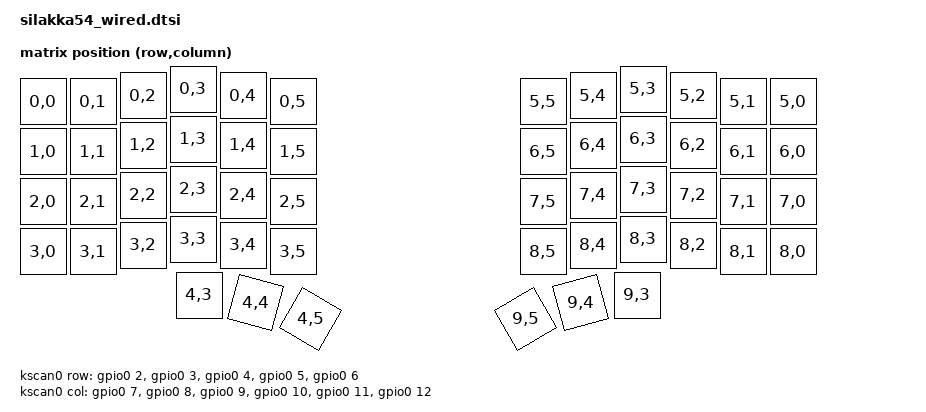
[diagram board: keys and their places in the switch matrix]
// SPDX-License-Identifier: MIT
// Original Silakka54 hardware: rows GP2..6, columns GP7..12, COL2ROW;
// UART0 TX GP0 / RX GP1. See Squalius-cephalus/silakka54 firmware/keyboard.json
// and firmware/config.h. This is an independent ZMK port, not a QMK firmware.
#include <dt-bindings/gpio/gpio.h>
#include <dt-bindings/zmk/matrix_transform.h>
#include <physical_layouts.dtsi>

/ {
    chosen {
        /delete-property/ zephyr,console;
        /delete-property/ zephyr,shell-uart;
        zmk,kscan = &kscan0;
        zmk,physical-layout = &silakka54_layout;
    };

    wired_split {
        compatible = "zmk,wired-split";
        device = <&uart0>;
    };

    default_transform: keymap_transform {
        compatible = "zmk,matrix-transform";
        rows = <10>;
        columns = <6>;
        map = <
            RC(0,0) RC(0,1) RC(0,2) RC(0,3) RC(0,4) RC(0,5)  RC(5,5) RC(5,4) RC(5,3) RC(5,2) RC(5,1) RC(5,0)
            RC(1,0) RC(1,1) RC(1,2) RC(1,3) RC(1,4) RC(1,5)  RC(6,5) RC(6,4) RC(6,3) RC(6,2) RC(6,1) RC(6,0)
            RC(2,0) RC(2,1) RC(2,2) RC(2,3) RC(2,4) RC(2,5)  RC(7,5) RC(7,4) RC(7,3) RC(7,2) RC(7,1) RC(7,0)
            RC(3,0) RC(3,1) RC(3,2) RC(3,3) RC(3,4) RC(3,5)  RC(8,5) RC(8,4) RC(8,3) RC(8,2) RC(8,1) RC(8,0)
            RC(4,3) RC(4,4) RC(4,5)  RC(9,5) RC(9,4) RC(9,3)
        >;
    };

    kscan0: kscan {
        compatible = "zmk,kscan-gpio-matrix";
        diode-direction = "col2row";
        row-gpios = <&gpio0 2 (GPIO_ACTIVE_HIGH | GPIO_PULL_DOWN)>,
                    <&gpio0 3 (GPIO_ACTIVE_HIGH | GPIO_PULL_DOWN)>,
                    <&gpio0 4 (GPIO_ACTIVE_HIGH | GPIO_PULL_DOWN)>,
                    <&gpio0 5 (GPIO_ACTIVE_HIGH | GPIO_PULL_DOWN)>,
                    <&gpio0 6 (GPIO_ACTIVE_HIGH | GPIO_PULL_DOWN)>;
        col-gpios = <&gpio0 7 GPIO_ACTIVE_HIGH>, <&gpio0 8 GPIO_ACTIVE_HIGH>,
                    <&gpio0 9 GPIO_ACTIVE_HIGH>, <&gpio0 10 GPIO_ACTIVE_HIGH>,
                    <&gpio0 11 GPIO_ACTIVE_HIGH>, <&gpio0 12 GPIO_ACTIVE_HIGH>;
    };

    silakka54_layout: silakka54_layout {
        compatible = "zmk,physical-layout";
        display-name = "Silakka54";
        transform = <&default_transform>;
        kscan = <&kscan0>;
        keys = <&key_physical_attrs 100 100 0 25 0 50 75>
             , <&key_physical_attrs 100 100 100 25 0 150 75>
             , <&key_physical_attrs 100 100 200 13 0 250 63>
             , <&key_physical_attrs 100 100 300 0 0 350 50>
             , <&key_physical_attrs 100 100 400 13 0 450 63>
             , <&key_physical_attrs 100 100 500 25 0 550 75>
             , <&key_physical_attrs 100 100 1000 25 0 1050 75>
             , <&key_physical_attrs 100 100 1100 13 0 1150 63>
             , <&key_physical_attrs 100 100 1200 0 0 1250 50>
             , <&key_physical_attrs 100 100 1300 13 0 1350 63>
             , <&key_physical_attrs 100 100 1400 25 0 1450 75>
             , <&key_physical_attrs 100 100 1500 25 0 1550 75>
             , <&key_physical_attrs 100 100 0 125 0 50 175>
             , <&key_physical_attrs 100 100 100 125 0 150 175>
             , <&key_physical_attrs 100 100 200 112 0 250 162>
             , <&key_physical_attrs 100 100 300 100 0 350 150>
             , <&key_physical_attrs 100 100 400 112 0 450 162>
             , <&key_physical_attrs 100 100 500 125 0 550 175>
             , <&key_physical_attrs 100 100 1000 125 0 1050 175>
             , <&key_physical_attrs 100 100 1100 112 0 1150 162>
             , <&key_physical_attrs 100 100 1200 100 0 1250 150>
             , <&key_physical_attrs 100 100 1300 112 0 1350 162>
             , <&key_physical_attrs 100 100 1400 125 0 1450 175>
             , <&key_physical_attrs 100 100 1500 125 0 1550 175>
             , <&key_physical_attrs 100 100 0 225 0 50 275>
             , <&key_physical_attrs 100 100 100 225 0 150 275>
             , <&key_physical_attrs 100 100 200 212 0 250 262>
             , <&key_physical_attrs 100 100 300 200 0 350 250>
             , <&key_physical_attrs 100 100 400 212 0 450 262>
             , <&key_physical_attrs 100 100 500 225 0 550 275>
             , <&key_physical_attrs 100 100 1000 225 0 1050 275>
             , <&key_physical_attrs 100 100 1100 212 0 1150 262>
             , <&key_physical_attrs 100 100 1200 200 0 1250 250>
             , <&key_physical_attrs 100 100 1300 212 0 1350 262>
             , <&key_physical_attrs 100 100 1400 225 0 1450 275>
             , <&key_physical_attrs 100 100 1500 225 0 1550 275>
             , <&key_physical_attrs 100 100 0 325 0 50 375>
             , <&key_physical_attrs 100 100 100 325 0 150 375>
             , <&key_physical_attrs 100 100 200 312 0 250 362>
             , <&key_physical_attrs 100 100 300 300 0 350 350>
             , <&key_physical_attrs 100 100 400 312 0 450 362>
             , <&key_physical_attrs 100 100 500 325 0 550 375>
             , <&key_physical_attrs 100 100 1000 325 0 1050 375>
             , <&key_physical_attrs 100 100 1100 312 0 1150 362>
             , <&key_physical_attrs 100 100 1200 300 0 1250 350>
             , <&key_physical_attrs 100 100 1300 312 0 1350 362>
             , <&key_physical_attrs 100 100 1400 325 0 1450 375>
             , <&key_physical_attrs 100 100 1500 325 0 1550 375>
             , <&key_physical_attrs 100 100 312 412 0 362 462>
             , <&key_physical_attrs 100 100 425 427 1500 475 477>
             , <&key_physical_attrs 100 100 535 460 3000 585 510>
             , <&key_physical_attrs 100 100 965 460 (-3000) 1015 510>
             , <&key_physical_attrs 100 100 1075 427 (-1500) 1125 477>
             , <&key_physical_attrs 100 100 1188 412 0 1238 462>;
    };
};

&uart0 {
    status = "okay";
    current-speed = <115200>;
};
